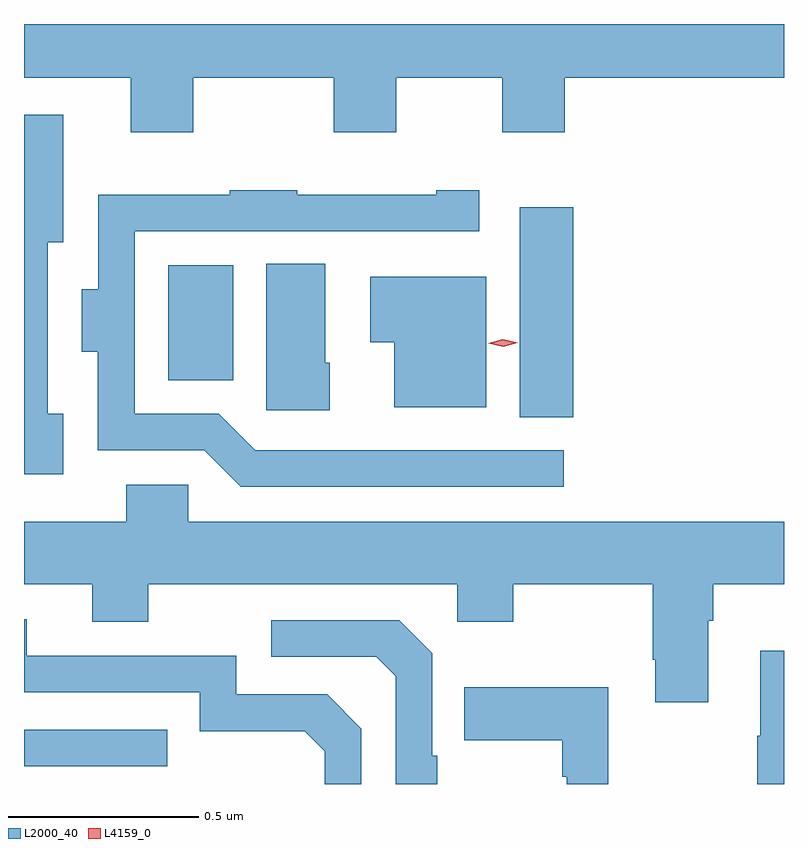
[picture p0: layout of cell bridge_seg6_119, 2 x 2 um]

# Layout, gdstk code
import gdstk
lib = gdstk.Library(unit=1e-6, precision=1e-09)
def R(c, l, rs):  # rectangles x0, y0, x1, y1
    for r in rs: c.add(gdstk.rectangle(r[:2], r[2:], *l))
def P(c, l, *ps):  # polygons
    for p in ps: c.add(gdstk.Polygon(p, *l))
L2000_40 = (2000, 40)
L4159_0 = (4159, 0)

bridge_seg6_119 = lib.new_cell('bridge_seg6_119')
R(bridge_seg6_119, L2000_40, [(456.654,994.809,457.031,994.905), (457.958,995.727,458.099,996.28), (457.034,995.825,457.204,996.127)])
P(bridge_seg6_119, L2000_40, [(456.654,996.62),(456.935,996.62),(456.935,996.477),(457.099,996.477),(457.099,996.62),(457.469,996.62),(457.469,996.477),(457.633,996.477),(457.633,996.62),(457.913,996.62),(457.913,996.477),(458.077,996.477),(458.077,996.62),(458.654,996.62),(458.654,996.762),(456.654,996.762)],
  [(456.757,995.737),(456.717,995.737),(456.717,996.188),(456.757,996.188),(456.757,996.523),(456.654,996.523),(456.654,995.577),(456.757,995.577)],
  [(458.074,995.64),(457.263,995.64),(457.167,995.736),(456.945,995.736),(456.945,996.216),(457.852,996.216),(457.852,996.325),(457.739,996.325),(457.739,996.313),(457.373,996.313),(457.373,996.325),(457.195,996.325),(457.195,996.313),(456.849,996.313),(456.849,996.064),(456.806,996.064),(456.806,995.9),(456.848,995.9),(456.848,995.64),(457.128,995.64),(457.224,995.544),(458.074,995.544)],
  [(457.459,995.871),(457.447,995.871),(457.447,996.131),(457.292,996.131),(457.292,995.745),(457.459,995.745)],
  [(457.87,996.097),(457.565,996.097),(457.565,995.924),(457.628,995.924),(457.628,995.753),(457.87,995.753)],
  [(456.981,995.288),(457.794,995.288),(457.794,995.189),(457.941,995.189),(457.941,995.288),(458.308,995.288),(458.308,995.089),(458.315,995.089),(458.315,994.977),(458.455,994.977),(458.455,995.192),(458.468,995.192),(458.468,995.288),(458.654,995.288),(458.654,995.452),(457.086,995.452),(457.086,995.55),(456.923,995.55),(456.923,995.452),(456.654,995.452),(456.654,995.288),(456.833,995.288),(456.833,995.189),(456.981,995.189)],
  [(457.542,994.908),(457.452,994.998),(457.212,994.998),(457.212,995.1),(456.661,995.1),(456.661,995.196),(456.654,995.196),(456.654,995.004),(457.116,995.004),(457.116,994.901),(457.393,994.901),(457.446,994.848),(457.446,994.762),(457.542,994.762)],
  [(457.741,994.837),(457.728,994.837),(457.728,995.106),(457.641,995.193),(457.305,995.193),(457.305,995.097),(457.581,995.097),(457.632,995.046),(457.632,994.762),(457.741,994.762)],
  [(458.654,995.113),(458.591,995.113),(458.591,994.889),(458.584,994.889),(458.584,994.762),(458.654,994.762)],
  [(458.191,995.017),(457.813,995.017),(457.813,994.877),(458.07,994.877),(458.07,994.781),(458.082,994.781),(458.082,994.762),(458.191,994.762)])
P(bridge_seg6_119, L4159_0, [(457.915,995.913),(457.876,995.922),(457.876,995.922),(457.876,995.922),(457.914,995.933),(457.953,995.923),(457.953,995.923),(457.953,995.923)])

lib.write_gds('bridge_seg6_119.gds')
